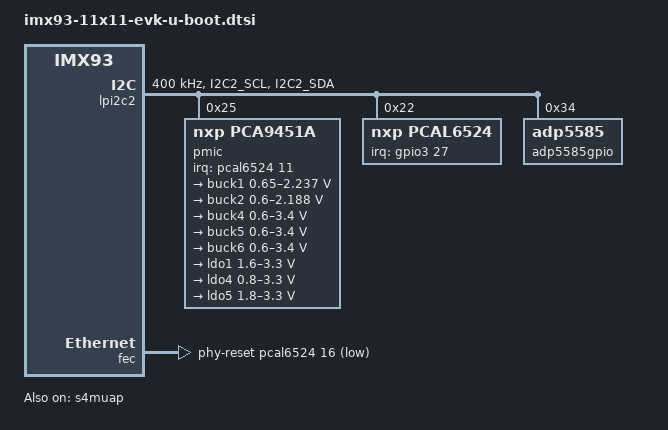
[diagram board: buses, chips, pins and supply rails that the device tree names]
// SPDX-License-Identifier: GPL-2.0+
/*
 * Copyright 2022 NXP
 */

#include "imx93-u-boot.dtsi"

/ {
	wdt-reboot {
		compatible = "wdt-reboot";
		wdt = <&wdog3>;
		bootph-pre-ram;
		bootph-some-ram;
	};

	firmware {
		optee {
			compatible = "linaro,optee-tz";
			method = "smc";
		};
	};
};

&{/soc@0} {
	bootph-all;
	bootph-pre-ram;
};

&lpi2c2 {
	#address-cells = <1>;
	#size-cells = <0>;
	clock-frequency = <400000>;
	pinctrl-names = "default", "sleep";
	pinctrl-0 = <&pinctrl_lpi2c2>;
	pinctrl-1 = <&pinctrl_lpi2c2>;
	status = "okay";

	pmic@25 {
		compatible = "nxp,pca9451a";
		reg = <0x25>;
		interrupt-parent = <&pcal6524>;
		interrupts = <11 IRQ_TYPE_LEVEL_LOW>;

		regulators {
			buck1: BUCK1 {
				regulator-name = "BUCK1";
				regulator-min-microvolt = <650000>;
				regulator-max-microvolt = <2237500>;
				regulator-boot-on;
				regulator-always-on;
				regulator-ramp-delay = <3125>;
			};

			buck2: BUCK2 {
				regulator-name = "BUCK2";
				regulator-min-microvolt = <600000>;
				regulator-max-microvolt = <2187500>;
				regulator-boot-on;
				regulator-always-on;
				regulator-ramp-delay = <3125>;
			};

			buck4: BUCK4{
				regulator-name = "BUCK4";
				regulator-min-microvolt = <600000>;
				regulator-max-microvolt = <3400000>;
				regulator-boot-on;
				regulator-always-on;
			};

			buck5: BUCK5{
				regulator-name = "BUCK5";
				regulator-min-microvolt = <600000>;
				regulator-max-microvolt = <3400000>;
				regulator-boot-on;
				regulator-always-on;
			};

			buck6: BUCK6 {
				regulator-name = "BUCK6";
				regulator-min-microvolt = <600000>;
				regulator-max-microvolt = <3400000>;
				regulator-boot-on;
				regulator-always-on;
			};

			ldo1: LDO1 {
				regulator-name = "LDO1";
				regulator-min-microvolt = <1600000>;
				regulator-max-microvolt = <3300000>;
				regulator-boot-on;
				regulator-always-on;
			};

			ldo4: LDO4 {
				regulator-name = "LDO4";
				regulator-min-microvolt = <800000>;
				regulator-max-microvolt = <3300000>;
				regulator-boot-on;
				regulator-always-on;
			};

			ldo5: LDO5 {
				regulator-name = "LDO5";
				regulator-min-microvolt = <1800000>;
				regulator-max-microvolt = <3300000>;
				regulator-boot-on;
				regulator-always-on;
			};
		};
	};

	pcal6524: gpio@22 {
		compatible = "nxp,pcal6524";
		pinctrl-names = "default";
		pinctrl-0 = <&pinctrl_pcal6524>;
		reg = <0x22>;
		gpio-controller;
		#gpio-cells = <2>;
		interrupt-controller;
		#interrupt-cells = <2>;
		interrupt-parent = <&gpio3>;
		interrupts = <27 IRQ_TYPE_LEVEL_LOW>;
	};

	adp5585gpio: gpio@34 {
		compatible = "adp5585";
		reg = <0x34>;
		gpio-controller;
		#gpio-cells = <2>;
	};
};

&aips1 {
	bootph-pre-ram;
	bootph-all;
};

&aips2 {
	bootph-pre-ram;
	bootph-some-ram;
};

&aips3 {
	bootph-pre-ram;
	bootph-some-ram;
};

&iomuxc {
	bootph-pre-ram;
	bootph-some-ram;

	pinctrl_lpi2c2: lpi2c2grp {
		fsl,pins = <
			MX93_PAD_I2C2_SCL__LPI2C2_SCL			0x40000b9e
			MX93_PAD_I2C2_SDA__LPI2C2_SDA			0x40000b9e
		>;
	};

	pinctrl_pcal6524: pcal6524grp {
		fsl,pins = <
			MX93_PAD_CCM_CLKO2__GPIO3_IO27			0x31e
		>;
	};
};

&reg_usdhc2_vmmc {
	u-boot,off-on-delay-us = <20000>;
	bootph-pre-ram;
	bootph-some-ram;
};

&pinctrl_reg_usdhc2_vmmc {
	bootph-pre-ram;
};

&pinctrl_uart1 {
	bootph-pre-ram;
	bootph-some-ram;
};

&pinctrl_usdhc2_gpio {
	bootph-pre-ram;
	bootph-some-ram;
};

&pinctrl_usdhc2 {
	bootph-pre-ram;
	bootph-some-ram;
};

&gpio1 {
	bootph-pre-ram;
	bootph-some-ram;
};

&gpio2 {
	bootph-pre-ram;
	bootph-some-ram;
};

&gpio3 {
	bootph-pre-ram;
	bootph-some-ram;
};

&gpio4 {
	bootph-pre-ram;
	bootph-some-ram;
};

&lpuart1 {
	bootph-pre-ram;
	bootph-some-ram;
};

&usdhc1 {
	bootph-pre-ram;
	bootph-some-ram;
};

&usdhc2 {
	bootph-pre-ram;
	bootph-some-ram;
	fsl,signal-voltage-switch-extra-delay-ms = <8>;
};

&lpi2c2 {
	bootph-pre-ram;
	bootph-some-ram;
};

&{/soc@0/bus@44000000/i2c@44350000/pmic@25} {
	bootph-pre-ram;
	bootph-some-ram;
};

&{/soc@0/bus@44000000/i2c@44350000/pmic@25/regulators} {
	bootph-pre-ram;
	bootph-some-ram;
};

&pinctrl_lpi2c2 {
	bootph-pre-ram;
	bootph-some-ram;
};

&fec {
	phy-reset-gpios = <&pcal6524 16 GPIO_ACTIVE_LOW>;
	phy-reset-duration = <15>;
	phy-reset-post-delay = <100>;
};

&ethphy1 {
	reset-gpios = <&pcal6524 15 GPIO_ACTIVE_LOW>;
	reset-assert-us = <15000>;
	reset-deassert-us = <100000>;
};

&s4muap {
	bootph-pre-ram;
	bootph-some-ram;
	status = "okay";
};

&clk {
	bootph-all;
	bootph-pre-ram;
	/delete-property/ assigned-clocks;
	/delete-property/ assigned-clock-rates;
	/delete-property/ assigned-clock-parents;
};

&osc_32k {
	bootph-all;
	bootph-pre-ram;
};

&osc_24m {
	bootph-all;
	bootph-pre-ram;
};

&clk_ext1 {
	bootph-all;
	bootph-pre-ram;
};
